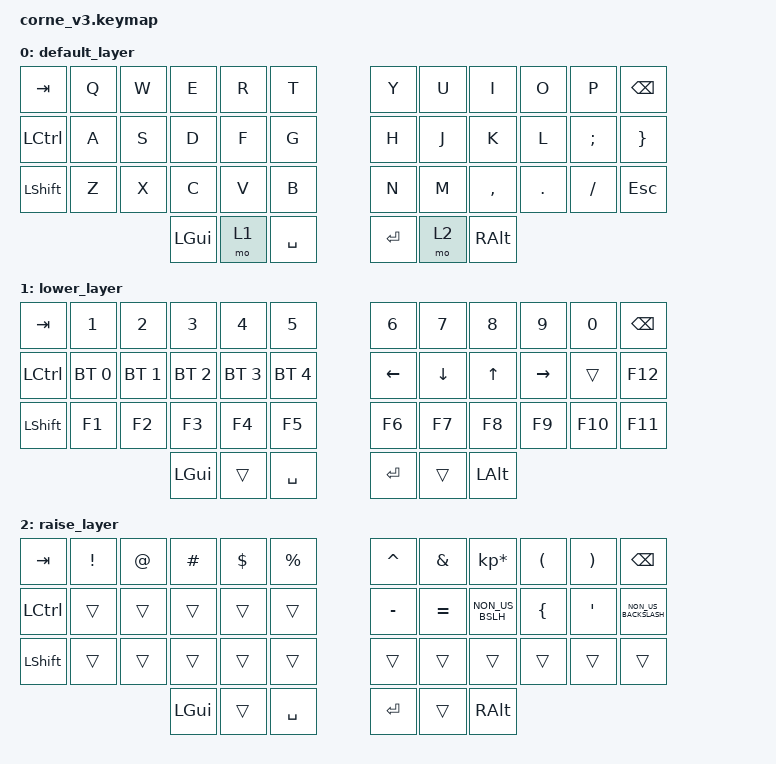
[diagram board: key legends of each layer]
/*
 * Copyright (c) 2020 The ZMK Contributors
 *
 * SPDX-License-Identifier: MIT
 */

#include <behaviors.dtsi>
#include <dt-bindings/zmk/bt.h>
#include <dt-bindings/zmk/keys.h>

/ {
    keymap {
        compatible = "zmk,keymap";

        default_layer {
            // -----------------------------------------------------------------------------------------
            // |  TAB |  Q  |  W  |  E  |  R  |  T  |   |  Y  |  U   |  I  |  O  |  P  | BKSP |
            // | CTRL |  A  |  S  |  D  |  F  |  G  |   |  H  |  J   |  K  |  L  |  ;  |  '   |
            // | SHFT |  Z  |  X  |  C  |  V  |  B  |   |  N  |  M   |  ,  |  .  |  /  | ESC  |
            //                    | GUI | LWR | SPC |   | ENT | RSE  | ALT |

            bindings = <
  &kp TAB  &kp Q  &kp W     &kp E  &kp R      &kp T      &kp Y  &kp U      &kp I    &kp O     &kp P         &kp BSPC
&kp LCTRL  &kp A  &kp S     &kp D  &kp F      &kp G      &kp H  &kp J      &kp K    &kp L  &kp SEMI  &kp RIGHT_BRACE
&kp LSHFT  &kp Z  &kp X     &kp C  &kp V      &kp B      &kp N  &kp M  &kp COMMA  &kp DOT  &kp FSLH          &kp ESC
                         &kp LGUI  &mo 1  &kp SPACE    &kp RET  &mo 2   &kp RALT
            >;
        };

        lower_layer {
            // -----------------------------------------------------------------------------------------
            // |  TAB |  1  |  2  |  3  |  4  |  5  |   |  6  |  7  |  8  |  9  |  0  | BKSP |
            // | BTCLR| BT1 | BT2 | BT3 | BT4 | BT5 |   | LFT | DWN |  UP | RGT |     |      |
            // | SHFT |     |     |     |     |     |   |     |     |     |     |     |      |
            //                    | GUI |     | SPC |   | ENT |     | ALT |

            bindings = <
  &kp TAB        &kp N1        &kp N2        &kp N3        &kp N4        &kp N5      &kp N6    &kp N7    &kp N8     &kp N9   &kp N0  &kp BSPC
&kp LCTRL  &bt BT_SEL 0  &bt BT_SEL 1  &bt BT_SEL 2  &bt BT_SEL 3  &bt BT_SEL 4    &kp LEFT  &kp DOWN    &kp UP  &kp RIGHT   &trans   &kp F12
&kp LSHFT        &kp F1        &kp F2        &kp F3        &kp F4        &kp F5      &kp F6    &kp F7    &kp F8     &kp F9  &kp F10   &kp F11
                                           &kp LGUI        &trans     &kp SPACE     &kp RET    &trans  &kp LALT
            >;
        };

        raise_layer {
            // -----------------------------------------------------------------------------------------
            // |  TAB |  !  |  @  |  #  |  $  |  %  |   |  ^  |  &  |  *  |  (  |  )  | BKSP |
            // | CTRL |     |     |     |     |     |   |  -  |  =  |  [  |  ]  |  \  |  `   |
            // | SHFT |     |     |     |     |     |   |  _  |  +  |  {  |  }  | "|" |  ~   |
            //                    | GUI |     | SPC |   | ENT |     | ALT |

            bindings = <
  &kp TAB  &kp EXCL  &kp AT  &kp HASH  &kp DLLR  &kp PRCNT    &kp CARET   &kp AMPS  &kp KP_MULTIPLY        &kp LPAR  &kp RPAR              &kp BSPC
&kp LCTRL    &trans  &trans    &trans    &trans     &trans    &kp MINUS  &kp EQUAL  &kp NON_US_BSLH  &kp LEFT_BRACE   &kp SQT  &kp NON_US_BACKSLASH
&kp LSHFT    &trans  &trans    &trans    &trans     &trans       &trans     &trans           &trans          &trans    &trans                &trans
                             &kp LGUI    &trans  &kp SPACE      &kp RET     &trans         &kp RALT
            >;
        };
    };
};
